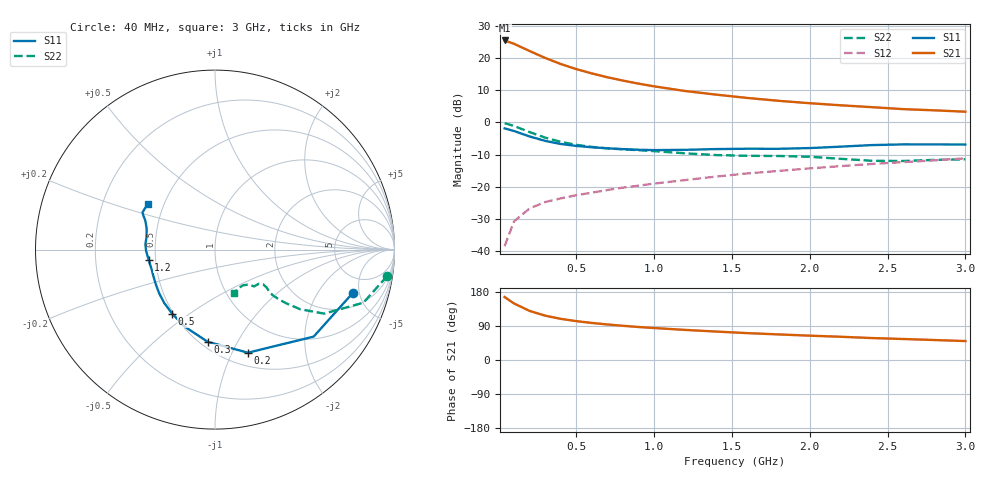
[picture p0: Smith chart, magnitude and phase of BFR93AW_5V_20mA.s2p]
! Filename:  BFR93AWC.S2P  Version:  4.0
! Philips part #: BFR93AW  Date: Jun 1994
! Bias condition: Vce=5V, Ic=20mA
#  MHz  S  MA  R  50
! Freq  S11  S21  S12  S22  !GUM [dB]
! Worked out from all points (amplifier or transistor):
!   21 points, 40 MHz to 3 GHz, reference 50 ohm
!   highest |S21| = 25.4 dB at 40 MHz (marker M1)
!   |S21| within 3 dB of that: start of sweep to 188.3 MHz
!   unconditionally stable (mu >= 1): 978.9 MHz to end of sweep
!   at 300 MHz: K = 0.55, MSG = 22.3 dB, |S12| = -24.7 dB
!   at 1 GHz: K = 1.01, MAG = 14.6 dB, |S12| = -19.0 dB
!   at 3 GHz: K = 1.03, MAG = 6.2 dB, |S12| = -11.2 dB
!   S11 on the Smith chart (normalised r, x): 40 MHz: 3.11, -4.28; 200 MHz: 0.64, -1.15; 300 MHz: 0.55, -0.76; 500 MHz: 0.49, -0.43; 1.2 GHz: 0.46, -0.06; 3 GHz: 0.41, +0.26
40  0.804 -17.6  18.55 166.2  0.012 81.9  0.97 -8.8
100  0.733 -41.4  16.47 149.3  0.029 69.9  0.878 -19.7
200  0.603 -72.3  12.74 129.6  0.046 60.1  0.705 -30.4
300  0.515 -94.6  9.946 117.1  0.058 55.9  0.579 -35.0
400  0.461 -111.4  8.016 108.6  0.066 55.3  0.498 -37.0
500  0.43 -123.6  6.676 102.6  0.074 56.0  0.447 -38.0
600  0.41 -133.8  5.719 97.8  0.081 57.4  0.415 -38.3
700  0.395 -141.9  4.99 93.8  0.089 58.7  0.394 -38.2
800  0.383 -149.0  4.428 90.3  0.097 60.3  0.381 -37.8
900  0.375 -155.5  3.971 87.1  0.104 61.5  0.369 -37.0
1000  0.37 -161.4  3.606 84.4  0.112 62.7  0.357 -36.3
1200  0.374 -171.5  3.052 79.4  0.127 64.5  0.33 -35.8
1400  0.384 -178.9  2.68 75.0  0.144 66.0  0.31 -37.9
1600  0.389 175.6  2.382 70.9  0.161 66.6  0.302 -41.5
1800  0.388 169.7  2.151 67.5  0.176 67.7  0.3 -43.2
2000  0.398 163.0  1.974 64.2  0.193 68.5  0.292 -43.9
2200  0.419 157.7  1.832 61.3  0.209 69.2  0.271 -45.8
2400  0.443 154.4  1.714 57.9  0.226 69.4  0.253 -51.8
2600  0.454 152.9  1.598 55.4  0.241 69.2  0.251 -59.5
2800  0.453 150.0  1.532 52.7  0.257 69.6  0.261 -64.1
3000  0.452 145.7  1.457 50.0  0.276 69.6  0.266 -66.5
